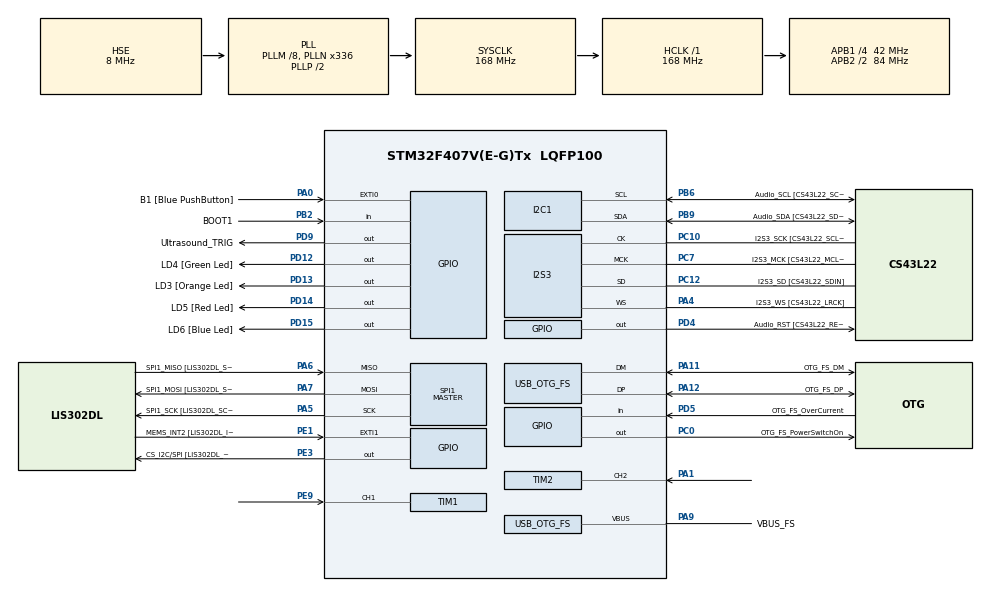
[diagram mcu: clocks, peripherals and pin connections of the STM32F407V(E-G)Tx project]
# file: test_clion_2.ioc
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I2S3.AudioFreq-Half_Duplex_Master=I2S_AUDIOFREQ_96K
I2S3.ErrorAudioFreq=-2.34 %
I2S3.ErrorAudioFreq-Half_Duplex_Master=0.8 %
I2S3.FullDuplexMode=I2S_FULLDUPLEXMODE_DISABLE
I2S3.Instance=SPI$Index
I2S3.RealAudioFreq=93.75 KHz
I2S3.RealAudioFreq-Half_Duplex_Master=96.774 KHz
I2S3.VirtualMode=I2S_MODE_MASTER
Mcu.Family=STM32F4
Mcu.Name=STM32F407V(E-G)Tx
Mcu.Package=LQFP100
NVIC.OTG_FS_IRQn=true\:0\:0\:false\:false\:true\:true\:true\:true
NVIC.PriorityGroup=NVIC_PRIORITYGROUP_0
NVIC.TIM2_IRQn=true\:0\:0\:false\:false\:true\:true\:true\:true
PA0-WKUP.GPIO_Label=B1 [Blue PushButton]
PA0-WKUP.GPIO_ModeDefaultEXTI=GPIO_MODE_EVT_RISING
PA0-WKUP.GPIO_PuPd=GPIO_NOPULL
PA0-WKUP.Signal=GPXTI0
PA1.Signal=S_TIM2_CH2
PA10.GPIO_Label=OTG_FS_ID
PA10.GPIO_Mode=GPIO_MODE_AF_PP
PA10.GPIO_PuPd=GPIO_NOPULL
PA10.GPIO_Speed=GPIO_SPEED_FREQ_LOW
PA10.Signal=USB_OTG_FS_ID
PA11.GPIO_Label=OTG_FS_DM
PA11.GPIO_Mode=GPIO_MODE_AF_PP
PA11.GPIO_PuPd=GPIO_NOPULL
PA11.GPIO_Speed=GPIO_SPEED_FREQ_LOW
PA11.Mode=Host_Only
PA11.Signal=USB_OTG_FS_DM
PA12.GPIO_Label=OTG_FS_DP
PA12.GPIO_Mode=GPIO_MODE_AF_PP
PA12.GPIO_PuPd=GPIO_NOPULL
PA12.GPIO_Speed=GPIO_SPEED_FREQ_LOW
PA12.Mode=Host_Only
PA12.Signal=USB_OTG_FS_DP
PA13.GPIO_Label=SWDIO
PA13.Mode=Serial_Wire
PA13.Signal=SYS_JTMS-SWDIO
PA14.GPIO_Label=SWCLK
PA14.Mode=Serial_Wire
PA14.Signal=SYS_JTCK-SWCLK
PA4.GPIO_Label=I2S3_WS [CS43L22_LRCK]
PA4.GPIO_Mode=GPIO_MODE_AF_PP
PA4.GPIO_PuPd=GPIO_NOPULL
PA4.GPIO_Speed=GPIO_SPEED_FREQ_LOW
PA4.Mode=Half_Duplex_Master
PA4.Signal=I2S3_WS
PA5.GPIO_Label=SPI1_SCK [LIS302DL_SCL/SPC]
PA5.GPIO_Mode=GPIO_MODE_AF_PP
PA5.GPIO_PuPd=GPIO_NOPULL
PA5.GPIO_Speed=GPIO_SPEED_FREQ_LOW
PA5.Mode=Full_Duplex_Master
PA5.Signal=SPI1_SCK
PA6.GPIO_Label=SPI1_MISO [LIS302DL_SDO]
PA6.GPIO_Mode=GPIO_MODE_AF_PP
PA6.GPIO_PuPd=GPIO_NOPULL
PA6.GPIO_Speed=GPIO_SPEED_FREQ_LOW
PA6.Mode=Full_Duplex_Master
PA6.Signal=SPI1_MISO
PA7.GPIO_Label=SPI1_MOSI [LIS302DL_SDA/SDI/SDO]
PA7.GPIO_Mode=GPIO_MODE_AF_PP
PA7.GPIO_PuPd=GPIO_NOPULL
PA7.GPIO_Speed=GPIO_SPEED_FREQ_LOW
PA7.Mode=Full_Duplex_Master
PA7.Signal=SPI1_MOSI
PA9.GPIO_Label=VBUS_FS
PA9.GPIO_Mode=GPIO_MODE_INPUT
PA9.GPIO_PuPd=GPIO_NOPULL
PA9.Mode=Activate_VBUS
PA9.Signal=USB_OTG_FS_VBUS
PB10.GPIO_Label=CLK_IN [MP45DT02_CLK]
PB10.GPIO_Mode=GPIO_MODE_AF_PP
PB10.GPIO_PuPd=GPIO_NOPULL
PB10.GPIO_Speed=GPIO_SPEED_FREQ_LOW
PB10.Signal=I2S2_CK
PB2.GPIO_Label=BOOT1
PB2.GPIO_Mode=GPIO_MODE_INPUT
PB2.GPIO_PuPd=GPIO_NOPULL
PB2.Signal=GPIO_Input
PB3.GPIO_Label=SWO
PB3.Signal=SYS_JTDO-SWO
PB6.GPIO_Label=Audio_SCL [CS43L22_SCL]
PB6.GPIO_Mode=GPIO_MODE_AF_OD
PB6.GPIO_Pu=GPIO_PULLUP
PB6.GPIO_PuPd=GPIO_NOPULL
PB6.GPIO_Speed=GPIO_SPEED_FREQ_LOW
PB6.Mode=I2C
PB6.Signal=I2C1_SCL
PB9.GPIO_Label=Audio_SDA [CS43L22_SDA]
PB9.GPIO_Mode=GPIO_MODE_AF_OD
PB9.GPIO_Pu=GPIO_PULLUP
PB9.GPIO_PuPd=GPIO_NOPULL
PB9.GPIO_Speed=GPIO_SPEED_FREQ_LOW
PB9.Mode=I2C
PB9.Signal=I2C1_SDA
PC0.GPIO_Label=OTG_FS_PowerSwitchOn
PC0.GPIO_PuPd=GPIO_NOPULL
PC0.GPIO_Speed=GPIO_SPEED_FREQ_LOW
PC0.PinState=GPIO_PIN_SET
PC0.Signal=GPIO_Output
PC10.GPIO_Label=I2S3_SCK [CS43L22_SCLK]
PC10.GPIO_Mode=GPIO_MODE_AF_PP
PC10.GPIO_PuPd=GPIO_NOPULL
PC10.GPIO_Speed=GPIO_SPEED_FREQ_LOW
PC10.Mode=Half_Duplex_Master
PC10.Signal=I2S3_CK
PC12.GPIO_Label=I2S3_SD [CS43L22_SDIN]
PC12.GPIO_Mode=GPIO_MODE_AF_PP
PC12.GPIO_PuPd=GPIO_NOPULL
PC12.GPIO_Speed=GPIO_SPEED_FREQ_LOW
PC12.Mode=Half_Duplex_Master
PC12.Signal=I2S3_SD
PC14-OSC32_IN.GPIO_Label=PC14-OSC32_IN
PC14-OSC32_IN.Mode=LSE-External-Oscillator
PC14-OSC32_IN.Signal=RCC_OSC32_IN
PC15-OSC32_OUT.GPIO_Label=PC15-OSC32_OUT
PC15-OSC32_OUT.Mode=LSE-External-Oscillator
PC15-OSC32_OUT.Signal=RCC_OSC32_OUT
PC3.GPIO_Label=PDM_OUT [MP45DT02_DOUT]
PC3.GPIO_Mode=GPIO_MODE_AF_PP
PC3.GPIO_PuPd=GPIO_NOPULL
PC3.GPIO_Speed=GPIO_SPEED_FREQ_LOW
PC3.Signal=I2S2_SD
PC7.GPIO_Label=I2S3_MCK [CS43L22_MCLK]
PC7.GPIO_Mode=GPIO_MODE_AF_PP
PC7.GPIO_PuPd=GPIO_NOPULL
PC7.GPIO_Speed=GPIO_SPEED_FREQ_LOW
PC7.Mode=Master_Clock_Activated
PC7.Signal=I2S3_MCK
PD12.GPIO_Label=LD4 [Green Led]
PD12.GPIO_PuPd=GPIO_NOPULL
PD12.GPIO_Speed=GPIO_SPEED_FREQ_LOW
PD12.Signal=GPIO_Output
PD13.GPIO_Label=LD3 [Orange Led]
PD13.GPIO_PuPd=GPIO_NOPULL
PD13.GPIO_Speed=GPIO_SPEED_FREQ_LOW
PD13.Signal=GPIO_Output
PD14.GPIO_Label=LD5 [Red Led]
PD14.GPIO_PuPd=GPIO_NOPULL
PD14.GPIO_Speed=GPIO_SPEED_FREQ_LOW
PD14.Signal=GPIO_Output
PD15.GPIO_Label=LD6 [Blue Led]
PD15.GPIO_PuPd=GPIO_NOPULL
PD15.GPIO_Speed=GPIO_SPEED_FREQ_LOW
PD15.Signal=GPIO_Output
PD4.GPIO_Label=Audio_RST [CS43L22_RESET]
PD4.GPIO_PuPd=GPIO_NOPULL
PD4.GPIO_Speed=GPIO_SPEED_FREQ_LOW
PD4.Signal=GPIO_Output
PD5.GPIO_Label=OTG_FS_OverCurrent
PD5.GPIO_Mode=GPIO_MODE_INPUT
PD5.GPIO_PuPd=GPIO_NOPULL
PD5.Signal=GPIO_Input
PD9.GPIO_Label=Ultrasound_TRIG
PD9.Signal=GPIO_Output
PE1.GPIO_Label=MEMS_INT2 [LIS302DL_INT2]
PE1.GPIO_ModeDefaultEXTI=GPIO_MODE_EVT_RISING
PE1.GPIO_PuPd=GPIO_NOPULL
PE1.Signal=GPXTI1
PE3.GPIO_Label=CS_I2C/SPI [LIS302DL_CS_I2C/SPI]
PE3.GPIO_PuPd=GPIO_NOPULL
PE3.GPIO_Speed=GPIO_SPEED_FREQ_LOW
PE3.Signal=GPIO_Output
PE9.Signal=S_TIM1_CH1
PH0-OSC_IN.GPIO_Label=PH0-OSC_IN
PH0-OSC_IN.Mode=HSE-External-Oscillator
PH0-OSC_IN.Signal=RCC_OSC_IN
PH1-OSC_OUT.GPIO_Label=PH1-OSC_OUT
PH1-OSC_OUT.Mode=HSE-External-Oscillator
PH1-OSC_OUT.Signal=RCC_OSC_OUT
ProjectManager.HeapSize=0x200
ProjectManager.StackSize=0x400
ProjectManager.TargetToolchain=CMake
RCC.48MHZClocksFreq_Value=48000000
RCC.AHBFreq_Value=168000000
RCC.APB1CLKDivider=RCC_HCLK_DIV4
RCC.APB1Freq_Value=42000000
RCC.APB1TimFreq_Value=84000000
RCC.APB2CLKDivider=RCC_HCLK_DIV2
RCC.APB2Freq_Value=84000000
RCC.APB2TimFreq_Value=168000000
RCC.CortexFreq_Value=168000000
RCC.HCLKFreq_Value=168000000
RCC.HSE_VALUE=8000000
RCC.HSI_VALUE=16000000
RCC.PLLM=8
RCC.PLLN=336
RCC.PLLQ=7
RCC.SYSCLKFreq_VALUE=168000000
RCC.SYSCLKSource=RCC_SYSCLKSOURCE_PLLCLK
RCC.VCOOutputFreq_Value=336000000
SH.S_TIM1_CH1.0=TIM1_CH1,Input_Capture1_from_TI1
SH.S_TIM2_CH2.0=TIM2_CH2,Input_Capture2_from_TI2
SPI1.BaudRatePrescaler-Full_Duplex_Master=SPI_BAUDRATEPRESCALER_2
SPI1.CalculateBaudRate-Full_Duplex_Master=42.0 MBits/s
SPI1.Direction=SPI_DIRECTION_2LINES
SPI1.Mode=SPI_MODE_MASTER
SPI1.Mode-Full_Duplex_Master=SPI_MODE_MASTER
SPI1.VirtualType=VM_MASTER
TIM1.Channel-Input_Capture1_from_TI1=TIM_CHANNEL_1
TIM1.Prescaler=0
TIM2.Channel-Input_Capture2_from_TI2=TIM_CHANNEL_2
TIM2.Prescaler=84 - 1
USB_HOST.BSP.number=1
USB_HOST.USBH_HandleTypeDef-CDC_FS=hUsbHostFS
USB_HOST.VirtualModeFS=Cdc
USB_HOST0.BSP.STBoard=false
USB_HOST0.BSP.api=Unknown
USB_HOST0.BSP.instance=PC0
USB_HOST0.BSP.ip=GPIO
USB_HOST0.BSP.mode=Output
USB_HOST0.BSP.name=Drive_VBUS_FS
USB_HOST0.BSP.solution=PC0
USB_OTG_FS.VirtualMode=Host_Only
USB_OTG_FS.phy_itface=HCD_PHY_EMBEDDED
VP_TIM1_VS_ClockSourceINT.Mode=Internal
VP_TIM2_VS_ClockSourceINT.Mode=Internal
VP_USB_HOST_VS_USB_HOST_CDC_FS.Mode=CDC_FS
board=STM32F407G-DISC1

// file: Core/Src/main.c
/* USER CODE BEGIN Header */
/**
  ******************************************************************************
  * @file           : main.c
  * @brief          : Main program body
  ******************************************************************************
  * @attention
  *
  * Copyright (c) 2026 STMicroelectronics.
  * All rights reserved.
  *
  * This software is licensed under terms that can be found in the LICENSE file
  * in the root directory of this software component.
  * If no LICENSE file comes with this software, it is provided AS-IS.
  *
  ******************************************************************************
  */
/* USER CODE END Header */
#include "main.h"
#include "usb_host.h"

I2C_HandleTypeDef hi2c1;

I2S_HandleTypeDef hi2s3;

SPI_HandleTypeDef hspi1;

TIM_HandleTypeDef htim1;
TIM_HandleTypeDef htim2;

/* USER CODE BEGIN PV */
uint32_t IC_Val1 = 0;
uint32_t IC_Val2 = 0;
uint8_t Is_First_Captured = 0;
uint32_t Difference = 0; // (cm)
float Distance = 0; // (cm)
/* USER CODE END PV */

void SystemClock_Config(void);
static void MX_GPIO_Init(void);
static void MX_I2C1_Init(void);
static void MX_I2S3_Init(void);
static void MX_SPI1_Init(void);
static void MX_TIM1_Init(void);
static void MX_TIM2_Init(void);
void MX_USB_HOST_Process(void);

/* USER CODE BEGIN 0 */
void DWT_Init(void)
{
  CoreDebug->DEMCR |= CoreDebug_DEMCR_TRCENA_Msk;
  DWT->CYCCNT = 0;
  DWT->CTRL |= DWT_CTRL_CYCCNTENA_Msk;
}

void delay_us(uint32_t us)
{
  uint32_t cycles = (SystemCoreClock / 1000000) * us;
  uint32_t start = DWT->CYCCNT;

  while ((DWT->CYCCNT - start) < cycles)
    ;
}

void HCSR04_Trigger(void)
{
  HAL_GPIO_WritePin(Ultrasound_TRIG_GPIO_Port, Ultrasound_TRIG_Pin, GPIO_PIN_RESET);
  delay_us(10);

  HAL_GPIO_WritePin(Ultrasound_TRIG_GPIO_Port , Ultrasound_TRIG_Pin, GPIO_PIN_SET);
  // HAL_Delay(1);
  delay_us(10);
  HAL_GPIO_WritePin(Ultrasound_TRIG_GPIO_Port, Ultrasound_TRIG_Pin, GPIO_PIN_RESET);
}

void HAL_TIM_IC_CaptureCallback(TIM_HandleTypeDef *htim)
{
  if (htim->Channel == HAL_TIM_ACTIVE_CHANNEL_2)
  {
    if (Is_First_Captured == 0)
    {
      IC_Val1 = HAL_TIM_ReadCapturedValue(htim, TIM_CHANNEL_2);
      Is_First_Captured = 1;

      __HAL_TIM_SET_CAPTUREPOLARITY(htim, TIM_CHANNEL_2, TIM_INPUTCHANNELPOLARITY_FALLING);
    }
    else if (Is_First_Captured == 1)
    {
      IC_Val2 = HAL_TIM_ReadCapturedValue(htim, TIM_CHANNEL_2);

      __HAL_TIM_SET_COUNTER(htim, 0);

      if (IC_Val2 > IC_Val1)
        Difference = IC_Val2 - IC_Val1;
      else
        Difference = (0xffff - IC_Val1) + IC_Val2;

      Distance = Difference * .034 / 2;

      Is_First_Captured = 0;

      __HAL_TIM_SET_CAPTUREPOLARITY(htim, TIM_CHANNEL_2, TIM_INPUTCHANNELPOLARITY_RISING);
    }
  }
}
/* USER CODE END 0 */

int main(void)
{

  /* MCU Configuration--------------------------------------------------------*/

  /* Reset of all peripherals, Initializes the Flash interface and the Systick. */
  HAL_Init();

  /* Configure the system clock */
  SystemClock_Config();

  /* Initialize all configured peripherals */
  MX_GPIO_Init();
  MX_I2C1_Init();
  MX_I2S3_Init();
  MX_SPI1_Init();
  MX_USB_HOST_Init();
  MX_TIM1_Init();
  MX_TIM2_Init();
  /* USER CODE BEGIN 2 */
  HAL_TIM_IC_Start_IT(&htim2, TIM_CHANNEL_2);
  DWT_Init();
  /* USER CODE END 2 */

  /* Infinite loop */
  /* USER CODE BEGIN WHILE */
  while (1)
  {
    HCSR04_Trigger();
    HAL_Delay(100);
    /* USER CODE END WHILE */
    MX_USB_HOST_Process();
  }
}

void SystemClock_Config(void)
{
  RCC_OscInitTypeDef RCC_OscInitStruct = {0};
  RCC_ClkInitTypeDef RCC_ClkInitStruct = {0};

  /** Configure the main internal regulator output voltage
  */
  __HAL_RCC_PWR_CLK_ENABLE();
  __HAL_PWR_VOLTAGESCALING_CONFIG(PWR_REGULATOR_VOLTAGE_SCALE1);

  /** Initializes the RCC Oscillators according to the specified parameters
  * in the RCC_OscInitTypeDef structure.
  */
  RCC_OscInitStruct.OscillatorType = RCC_OSCILLATORTYPE_HSE;
  RCC_OscInitStruct.HSEState = RCC_HSE_ON;
  RCC_OscInitStruct.PLL.PLLState = RCC_PLL_ON;
  RCC_OscInitStruct.PLL.PLLSource = RCC_PLLSOURCE_HSE;
  RCC_OscInitStruct.PLL.PLLM = 8;
  RCC_OscInitStruct.PLL.PLLN = 336;
  RCC_OscInitStruct.PLL.PLLP = RCC_PLLP_DIV2;
  RCC_OscInitStruct.PLL.PLLQ = 7;
  if (HAL_RCC_OscConfig(&RCC_OscInitStruct) != HAL_OK)
  {
    Error_Handler();
  }

  /** Initializes the CPU, AHB and APB buses clocks
  */
  RCC_ClkInitStruct.ClockType = RCC_CLOCKTYPE_HCLK|RCC_CLOCKTYPE_SYSCLK
                              |RCC_CLOCKTYPE_PCLK1|RCC_CLOCKTYPE_PCLK2;
  RCC_ClkInitStruct.SYSCLKSource = RCC_SYSCLKSOURCE_PLLCLK;
  RCC_ClkInitStruct.AHBCLKDivider = RCC_SYSCLK_DIV1;
  RCC_ClkInitStruct.APB1CLKDivider = RCC_HCLK_DIV4;
  RCC_ClkInitStruct.APB2CLKDivider = RCC_HCLK_DIV2;

  if (HAL_RCC_ClockConfig(&RCC_ClkInitStruct, FLASH_LATENCY_5) != HAL_OK)
  {
    Error_Handler();
  }
}

static void MX_I2C1_Init(void)
{

  hi2c1.Instance = I2C1;
  hi2c1.Init.ClockSpeed = 100000;
  hi2c1.Init.DutyCycle = I2C_DUTYCYCLE_2;
  hi2c1.Init.OwnAddress1 = 0;
  hi2c1.Init.AddressingMode = I2C_ADDRESSINGMODE_7BIT;
  hi2c1.Init.DualAddressMode = I2C_DUALADDRESS_DISABLE;
  hi2c1.Init.OwnAddress2 = 0;
  hi2c1.Init.GeneralCallMode = I2C_GENERALCALL_DISABLE;
  hi2c1.Init.NoStretchMode = I2C_NOSTRETCH_DISABLE;
  if (HAL_I2C_Init(&hi2c1) != HAL_OK)
  {
    Error_Handler();
  }

}

static void MX_I2S3_Init(void)
{

  hi2s3.Instance = SPI3;
  hi2s3.Init.Mode = I2S_MODE_MASTER_TX;
  hi2s3.Init.Standard = I2S_STANDARD_PHILIPS;
  hi2s3.Init.DataFormat = I2S_DATAFORMAT_16B;
  hi2s3.Init.MCLKOutput = I2S_MCLKOUTPUT_ENABLE;
  hi2s3.Init.AudioFreq = I2S_AUDIOFREQ_96K;
  hi2s3.Init.CPOL = I2S_CPOL_LOW;
  hi2s3.Init.ClockSource = I2S_CLOCK_PLL;
  hi2s3.Init.FullDuplexMode = I2S_FULLDUPLEXMODE_DISABLE;
  if (HAL_I2S_Init(&hi2s3) != HAL_OK)
  {
    Error_Handler();
  }

}

static void MX_SPI1_Init(void)
{

  /* SPI1 parameter configuration*/
  hspi1.Instance = SPI1;
  hspi1.Init.Mode = SPI_MODE_MASTER;
  hspi1.Init.Direction = SPI_DIRECTION_2LINES;
  hspi1.Init.DataSize = SPI_DATASIZE_8BIT;
  hspi1.Init.CLKPolarity = SPI_POLARITY_LOW;
  hspi1.Init.CLKPhase = SPI_PHASE_1EDGE;
  hspi1.Init.NSS = SPI_NSS_SOFT;
  hspi1.Init.BaudRatePrescaler = SPI_BAUDRATEPRESCALER_2;
  hspi1.Init.FirstBit = SPI_FIRSTBIT_MSB;
  hspi1.Init.TIMode = SPI_TIMODE_DISABLE;
  hspi1.Init.CRCCalculation = SPI_CRCCALCULATION_DISABLE;
  hspi1.Init.CRCPolynomial = 10;
  if (HAL_SPI_Init(&hspi1) != HAL_OK)
  {
    Error_Handler();
  }

}

static void MX_TIM1_Init(void)
{

  TIM_ClockConfigTypeDef sClockSourceConfig = {0};
  TIM_MasterConfigTypeDef sMasterConfig = {0};
  TIM_IC_InitTypeDef sConfigIC = {0};

  htim1.Instance = TIM1;
  htim1.Init.Prescaler = 0;
  htim1.Init.CounterMode = TIM_COUNTERMODE_UP;
  htim1.Init.Period = 65535;
  htim1.Init.ClockDivision = TIM_CLOCKDIVISION_DIV1;
  htim1.Init.RepetitionCounter = 0;
  htim1.Init.AutoReloadPreload = TIM_AUTORELOAD_PRELOAD_DISABLE;
  if (HAL_TIM_Base_Init(&htim1) != HAL_OK)
  {
    Error_Handler();
  }
  sClockSourceConfig.ClockSource = TIM_CLOCKSOURCE_INTERNAL;
  if (HAL_TIM_ConfigClockSource(&htim1, &sClockSourceConfig) != HAL_OK)
  {
    Error_Handler();
  }
  if (HAL_TIM_IC_Init(&htim1) != HAL_OK)
  {
    Error_Handler();
  }
  sMasterConfig.MasterOutputTrigger = TIM_TRGO_RESET;
  sMasterConfig.MasterSlaveMode = TIM_MASTERSLAVEMODE_DISABLE;
  if (HAL_TIMEx_MasterConfigSynchronization(&htim1, &sMasterConfig) != HAL_OK)
  {
    Error_Handler();
  }
  sConfigIC.ICPolarity = TIM_INPUTCHANNELPOLARITY_RISING;
  sConfigIC.ICSelection = TIM_ICSELECTION_DIRECTTI;
  sConfigIC.ICPrescaler = TIM_ICPSC_DIV1;
  sConfigIC.ICFilter = 0;
  if (HAL_TIM_IC_ConfigChannel(&htim1, &sConfigIC, TIM_CHANNEL_1) != HAL_OK)
  {
    Error_Handler();
  }

}

static void MX_TIM2_Init(void)
{

  TIM_ClockConfigTypeDef sClockSourceConfig = {0};
  TIM_MasterConfigTypeDef sMasterConfig = {0};
  TIM_IC_InitTypeDef sConfigIC = {0};

  htim2.Instance = TIM2;
  htim2.Init.Prescaler = 84 - 1;
  htim2.Init.CounterMode = TIM_COUNTERMODE_UP;
  htim2.Init.Period = 4294967295;
  htim2.Init.ClockDivision = TIM_CLOCKDIVISION_DIV1;
  htim2.Init.AutoReloadPreload = TIM_AUTORELOAD_PRELOAD_DISABLE;
  if (HAL_TIM_Base_Init(&htim2) != HAL_OK)
  {
    Error_Handler();
  }
  sClockSourceConfig.ClockSource = TIM_CLOCKSOURCE_INTERNAL;
  if (HAL_TIM_ConfigClockSource(&htim2, &sClockSourceConfig) != HAL_OK)
  {
    Error_Handler();
  }
  if (HAL_TIM_IC_Init(&htim2) != HAL_OK)
  {
    Error_Handler();
  }
  sMasterConfig.MasterOutputTrigger = TIM_TRGO_RESET;
  sMasterConfig.MasterSlaveMode = TIM_MASTERSLAVEMODE_DISABLE;
  if (HAL_TIMEx_MasterConfigSynchronization(&htim2, &sMasterConfig) != HAL_OK)
  {
    Error_Handler();
  }
  sConfigIC.ICPolarity = TIM_INPUTCHANNELPOLARITY_RISING;
  sConfigIC.ICSelection = TIM_ICSELECTION_DIRECTTI;
  sConfigIC.ICPrescaler = TIM_ICPSC_DIV1;
  sConfigIC.ICFilter = 0;
  if (HAL_TIM_IC_ConfigChannel(&htim2, &sConfigIC, TIM_CHANNEL_2) != HAL_OK)
  {
    Error_Handler();
  }

}

static void MX_GPIO_Init(void)
{
  GPIO_InitTypeDef GPIO_InitStruct = {0};

  /* GPIO Ports Clock Enable */
  __HAL_RCC_GPIOE_CLK_ENABLE();
  __HAL_RCC_GPIOC_CLK_ENABLE();
  __HAL_RCC_GPIOH_CLK_ENABLE();
  __HAL_RCC_GPIOA_CLK_ENABLE();
  __HAL_RCC_GPIOB_CLK_ENABLE();
  __HAL_RCC_GPIOD_CLK_ENABLE();

  /*Configure GPIO pin Output Level */
  HAL_GPIO_WritePin(CS_I2C_SPI_GPIO_Port, CS_I2C_SPI_Pin, GPIO_PIN_RESET);

  /*Configure GPIO pin Output Level */
  HAL_GPIO_WritePin(OTG_FS_PowerSwitchOn_GPIO_Port, OTG_FS_PowerSwitchOn_Pin, GPIO_PIN_SET);

  /*Configure GPIO pin Output Level */
  HAL_GPIO_WritePin(GPIOD, Ultrasound_TRIG_Pin|LD4_Pin|LD3_Pin|LD5_Pin
                          |LD6_Pin|Audio_RST_Pin, GPIO_PIN_RESET);

  /*Configure GPIO pin : CS_I2C_SPI_Pin */
  GPIO_InitStruct.Pin = CS_I2C_SPI_Pin;
  GPIO_InitStruct.Mode = GPIO_MODE_OUTPUT_PP;
  GPIO_InitStruct.Pull = GPIO_NOPULL;
  GPIO_InitStruct.Speed = GPIO_SPEED_FREQ_LOW;
  HAL_GPIO_Init(CS_I2C_SPI_GPIO_Port, &GPIO_InitStruct);

  /*Configure GPIO pin : OTG_FS_PowerSwitchOn_Pin */
  GPIO_InitStruct.Pin = OTG_FS_PowerSwitchOn_Pin;
  GPIO_InitStruct.Mode = GPIO_MODE_OUTPUT_PP;
  GPIO_InitStruct.Pull = GPIO_NOPULL;
  GPIO_InitStruct.Speed = GPIO_SPEED_FREQ_LOW;
  HAL_GPIO_Init(OTG_FS_PowerSwitchOn_GPIO_Port, &GPIO_InitStruct);

  /*Configure GPIO pin : PDM_OUT_Pin */
  GPIO_InitStruct.Pin = PDM_OUT_Pin;
  GPIO_InitStruct.Mode = GPIO_MODE_AF_PP;
  GPIO_InitStruct.Pull = GPIO_NOPULL;
  GPIO_InitStruct.Speed = GPIO_SPEED_FREQ_LOW;
  GPIO_InitStruct.Alternate = GPIO_AF5_SPI2;
  HAL_GPIO_Init(PDM_OUT_GPIO_Port, &GPIO_InitStruct);

  /*Configure GPIO pin : B1_Pin */
  GPIO_InitStruct.Pin = B1_Pin;
  GPIO_InitStruct.Mode = GPIO_MODE_EVT_RISING;
  GPIO_InitStruct.Pull = GPIO_NOPULL;
  HAL_GPIO_Init(B1_GPIO_Port, &GPIO_InitStruct);

  /*Configure GPIO pin : BOOT1_Pin */
  GPIO_InitStruct.Pin = BOOT1_Pin;
  GPIO_InitStruct.Mode = GPIO_MODE_INPUT;
  GPIO_InitStruct.Pull = GPIO_NOPULL;
  HAL_GPIO_Init(BOOT1_GPIO_Port, &GPIO_InitStruct);

  /*Configure GPIO pin : CLK_IN_Pin */
  GPIO_InitStruct.Pin = CLK_IN_Pin;
  GPIO_InitStruct.Mode = GPIO_MODE_AF_PP;
  GPIO_InitStruct.Pull = GPIO_NOPULL;
  GPIO_InitStruct.Speed = GPIO_SPEED_FREQ_LOW;
  GPIO_InitStruct.Alternate = GPIO_AF5_SPI2;
  HAL_GPIO_Init(CLK_IN_GPIO_Port, &GPIO_InitStruct);

  /*Configure GPIO pins : Ultrasound_TRIG_Pin LD4_Pin LD3_Pin LD5_Pin
                           LD6_Pin Audio_RST_Pin */
  GPIO_InitStruct.Pin = Ultrasound_TRIG_Pin|LD4_Pin|LD3_Pin|LD5_Pin
                          |LD6_Pin|Audio_RST_Pin;
  GPIO_InitStruct.Mode = GPIO_MODE_OUTPUT_PP;
  GPIO_InitStruct.Pull = GPIO_NOPULL;
  GPIO_InitStruct.Speed = GPIO_SPEED_FREQ_LOW;
  HAL_GPIO_Init(GPIOD, &GPIO_InitStruct);

  /*Configure GPIO pin : OTG_FS_OverCurrent_Pin */
  GPIO_InitStruct.Pin = OTG_FS_OverCurrent_Pin;
  GPIO_InitStruct.Mode = GPIO_MODE_INPUT;
  GPIO_InitStruct.Pull = GPIO_NOPULL;
  HAL_GPIO_Init(OTG_FS_OverCurrent_GPIO_Port, &GPIO_InitStruct);

  /*Configure GPIO pin : MEMS_INT2_Pin */
  GPIO_InitStruct.Pin = MEMS_INT2_Pin;
  GPIO_InitStruct.Mode = GPIO_MODE_EVT_RISING;
  GPIO_InitStruct.Pull = GPIO_NOPULL;
  HAL_GPIO_Init(MEMS_INT2_GPIO_Port, &GPIO_InitStruct);

}

void Error_Handler(void)
{
  __disable_irq();
  while (1)
  {
  }
}
